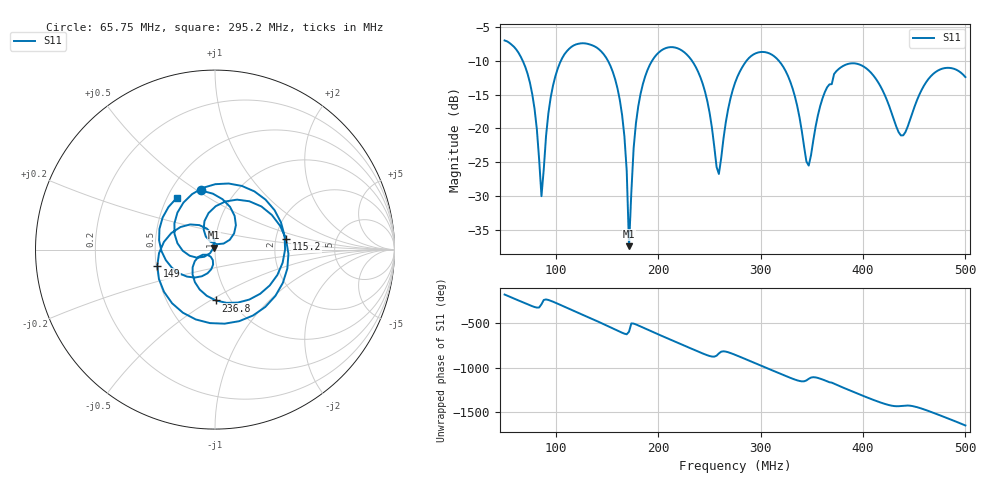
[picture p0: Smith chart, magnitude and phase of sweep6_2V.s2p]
!Agilent Technologies,E8364B,US42250162,A.07.50.67
!Agilent E8364B: A.07.50.67
!Date: Friday, June 23, 2023 16:16:58
!Correction: S11(Off)
!S21(Off)
!S12(Off)
!S22(Off)
!S2P File: Measurements: S11, S21, S12, S22:
# Hz S  RI  R 50
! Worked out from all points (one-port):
!   201 points, 50 MHz to 500 MHz, reference 50 ohm
!   lowest |S11| = -37.4 dB at 171.5 MHz (marker M1), VSWR 1.03, Z = 49.3 + j1.12 ohm
!   |S11| at or under -10 dB: 150.8 MHz to 194.1 MHz (43.25 MHz wide, 25.1 % of centre); 232.9 MHz to 286.3 MHz (53.44 MHz wide, 20.6 % of centre); 317.7 MHz to end of sweep (the widest 3 of 4)
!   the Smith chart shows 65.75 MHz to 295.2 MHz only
!   S11 on the Smith chart (normalised r, x): 65.75 MHz: 0.70, +0.52; 115.2 MHz: 2.28, +0.31; 149 MHz: 0.51, -0.10; 236.8 MHz: 0.86, -0.53; 295.2 MHz: 0.56, +0.37
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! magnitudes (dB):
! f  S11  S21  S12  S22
! 50 MHz  -7.0  -  -  -
! 65.75 MHz  -9.4  -  -  -
! 79.25 MHz  -17.1  -  -  -
! 86 MHz  -30.0  -  -  -
! 97.25 MHz  -13.7  -  -  -
! 115.2 MHz  -8.0  -  -  -
! 126.5 MHz  -7.4  -  -  -
! 149 MHz  -9.5  -  -  -
! 164.8 MHz  -18.0  -  -  -
! 171.5 MHz  -37.4  -  -  -
! 180.5 MHz  -16.7  -  -  -
! 200.8 MHz  -8.8  -  -  -
! 236.8 MHz  -11.0  -  -  -
! 259.2 MHz  -26.7  -  -  -
! 275 MHz  -13.3  -  -  -
! 295.2 MHz  -8.9  -  -  -
! 351.5 MHz  -21.7  -  -  -
! 383 MHz  -10.6  -  -  -
! 425.8 MHz  -16.8  -  -  -
! 439.2 MHz  -21.0  -  -  -
! 468.5 MHz  -12.0  -  -  -
! 500 MHz  -12.4  -  -  -
